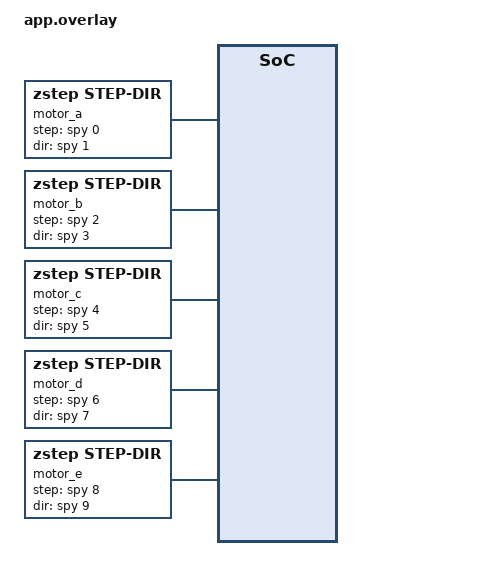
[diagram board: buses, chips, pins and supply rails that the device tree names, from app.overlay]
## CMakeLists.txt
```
# SPDX-License-Identifier: Apache-2.0

cmake_minimum_required(VERSION 3.20.0)
list(APPEND DTS_ROOT ${CMAKE_CURRENT_SOURCE_DIR})
find_package(Zephyr REQUIRED HINTS $ENV{ZEPHYR_BASE})
project(zstep_timing)

target_sources(app PRIVATE src/main.c src/gpio_spy.c)
target_include_directories(app PRIVATE ${ZEPHYR_ZSTEP_MODULE_DIR}/drivers/stepper)
```

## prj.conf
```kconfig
# SPDX-License-Identifier: Apache-2.0

CONFIG_ZTEST=y
CONFIG_STEPPER=y
CONFIG_GPIO=y
CONFIG_COUNTER=y
CONFIG_COUNTER_NATIVE_SIM_FREQUENCY=1000000
CONFIG_ASSERT=y
CONFIG_LOG=y
CONFIG_COUNTER_NATIVE_SIM_NBR_CHANNELS=5
CONFIG_LOG_MODE_IMMEDIATE=y
```

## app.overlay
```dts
/* SPDX-License-Identifier: Apache-2.0 */

#include <zephyr/dt-bindings/gpio/gpio.h>

/ {
	fake_driver: fake-driver {
		compatible = "zephyr,fake-stepper-driver";
	};

	/* Unused, the upstream fake driver does not build warning free without it. */
	fake-ctrl {
		compatible = "zephyr,fake-stepper-ctrl";
	};

	spy: gpio-spy {
		compatible = "zstep,test-gpio-spy";
		gpio-controller;
		#gpio-cells = <2>;
		ngpios = <10>;
	};

	motor_a: motor-a {
		compatible = "zstep,step-dir";
		step-gpios = <&spy 0 GPIO_ACTIVE_HIGH>;
		dir-gpios = <&spy 1 GPIO_ACTIVE_HIGH>;
		counter = <&counter0>;
		counter-channel = <0>;
	};

	motor_b: motor-b {
		compatible = "zstep,step-dir";
		step-gpios = <&spy 2 GPIO_ACTIVE_HIGH>;
		dir-gpios = <&spy 3 GPIO_ACTIVE_HIGH>;
		counter = <&counter0>;
		counter-channel = <1>;
		invert-direction;
	};

	motor_c: motor-c {
		compatible = "zstep,step-dir";
		step-gpios = <&spy 4 GPIO_ACTIVE_HIGH>;
		dir-gpios = <&spy 5 GPIO_ACTIVE_HIGH>;
		counter = <&counter0>;
		counter-channel = <2>;
		dual-edge-step;
	};

	motor_d: motor-d {
		compatible = "zstep,step-dir";
		step-gpios = <&spy 6 GPIO_ACTIVE_HIGH>;
		dir-gpios = <&spy 7 GPIO_ACTIVE_HIGH>;
		counter = <&counter0>;
		counter-channel = <3>;
		input-shaper = "zvd";
		input-shaper-frequency-centihz = <4000>;
		input-shaper-buffer-steps = <1024>;
	};

	motor_e: motor-e {
		compatible = "zstep,step-dir";
		step-gpios = <&spy 8 GPIO_ACTIVE_HIGH>;
		dir-gpios = <&spy 9 GPIO_ACTIVE_HIGH>;
		counter = <&counter0>;
		counter-channel = <4>;
		stepper-driver = <&fake_driver>;
		input-shaper = "ei";
		input-shaper-frequency-centihz = <4000>;
		input-shaper-buffer-steps = <1024>;
	};
};
```

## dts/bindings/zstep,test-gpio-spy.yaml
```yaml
# SPDX-License-Identifier: Apache-2.0

description: GPIO controller that records every output edge with a counter timestamp.

compatible: "zstep,test-gpio-spy"

include: [gpio-controller.yaml, base.yaml]

properties:
  "#gpio-cells":
    const: 2

gpio-cells:
  - pin
  - flags
```

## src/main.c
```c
/* SPDX-License-Identifier: Apache-2.0 */

#include <stdlib.h>
#include <string.h>

#include <zephyr/drivers/counter.h>
#include <zephyr/drivers/gpio.h>
#include <zephyr/drivers/stepper/stepper.h>
#include <zephyr/drivers/stepper/stepper_ctrl.h>
#include <zephyr/fff.h>
#include <zephyr/ztest.h>
#include <zstep/zstep.h>

#include "gpio_spy.h"
#include "log_capture.h"
#include "zstep_ramp.h"
#include "zstep_shaper.h"

DEFINE_FFF_GLOBALS;

#define FREQ      1000000U
/* Default 2000 ns step width at 1 MHz rounded up, plus one tick of counter phase. */
#define MIN_DELAY 3
#define MAX_TICKS 8192

struct motor {
	const struct device *dev;
	uint8_t step_pin;
	uint8_t dir_pin;
	bool inverted;
	bool dual_edge;
	struct k_sem done;
	int event;
	int chain;
	int chain_err;
};

#define MOTOR(node)                                                                                \
	{                                                                                          \
		.dev = DEVICE_DT_GET(node),                                                        \
		.step_pin = DT_GPIO_PIN(node, step_gpios),                                         \
		.dir_pin = DT_GPIO_PIN(node, dir_gpios),                                           \
		.inverted = DT_PROP(node, invert_direction),                                       \
		.dual_edge = DT_PROP(node, dual_edge_step),                                        \
	}

static struct motor motors[] = {
	MOTOR(DT_NODELABEL(motor_a)), MOTOR(DT_NODELABEL(motor_b)), MOTOR(DT_NODELABEL(motor_c)),
	MOTOR(DT_NODELABEL(motor_d)), MOTOR(DT_NODELABEL(motor_e)),
};

static struct motor *const a = &motors[0];
static struct motor *const b = &motors[1];
static struct motor *const c = &motors[2];
static struct motor *const d = &motors[3];
static struct motor *const e = &motors[4];

static const struct device *const counter = DEVICE_DT_GET(DT_NODELABEL(counter0));
static const struct device *const spy = DEVICE_DT_GET(DT_NODELABEL(spy));

static const struct stepper_ctrl_ramp slow = {
	.acceleration_max = 10000,
	.speed_max = 2000,
	.deceleration_max = 10000,
};

static const struct stepper_ctrl_ramp quick = {
	.acceleration_max = 50000,
	.speed_max = 5000,
	.deceleration_max = 25000,
};

static const struct stepper_ctrl_ramp fast = {
	.acceleration_max = 100000,
	.speed_max = 20000,
	.deceleration_max = 100000,
};

static uint32_t got[ARRAY_SIZE(motors)][MAX_TICKS];
static uint32_t want[MAX_TICKS];

static void on_event(const struct device *dev, enum stepper_ctrl_event event, void *user_data)
{
	struct motor *m = user_data;

	if (event == STEPPER_CTRL_EVENT_STEPS_COMPLETED && m->chain > 0) {
		m->chain--;
		m->chain_err |= stepper_ctrl_move_by(dev, 10);
		return;
	}

	m->event = event;
	k_sem_give(&m->done);
}

static void wait_for(struct motor *m, enum stepper_ctrl_event event)
{
	zassert_ok(k_sem_take(&m->done, K_SECONDS(10)), "%s timed out", m->dev->name);
	zassert_equal(m->event, event, "%s reported event %d", m->dev->name, m->event);
}

static int32_t position(const struct motor *m)
{
	int32_t pos;

	zassert_ok(stepper_ctrl_get_actual_position(m->dev, &pos));
	return pos;
}

/* Times of the step edges, both edges count for a dual-edge driver. */
static size_t step_ticks(const struct motor *m, uint32_t *out)
{
	const struct gpio_spy_edge *edges;
	size_t count = gpio_spy_edges(&edges);
	size_t n = 0;

	for (size_t i = 0; i < count && n < MAX_TICKS; i++) {
		if (edges[i].pin == m->step_pin && (m->dual_edge || edges[i].level == 1)) {
			out[n++] = edges[i].tick;
		}
	}

	return n;
}

static struct zstep_profile profile_of(const struct stepper_ctrl_ramp *ramp)
{
	struct zstep_profile p;

	zassert_ok(zstep_profile_init(&p, FREQ, zstep_interval_from_speed(FREQ, ramp->speed_max),
				      ramp->acceleration_max, ramp->deceleration_max));
	return p;
}

/* Every step of an n step move must land exactly where the ramp puts it. */
static void check_move(const struct motor *m, const uint32_t *ticks, const struct zstep_profile *p,
		       uint32_t n)
{
	struct zstep_ramp r;

	zstep_ramp_reset(&r, p);
	want[0] = 0;
	for (uint32_t k = 1; k < n; k++) {
		want[k] = want[k - 1] + zstep_ramp_next(&r, n - k);
	}

	for (uint32_t k = 0; k < n; k++) {
		zassert_equal(ticks[k] - ticks[0], want[k], "%s: step %u at %u, expected %u",
			      m->dev->name, k, ticks[k] - ticks[0], want[k]);
	}
}

static size_t steps_up_to(const uint32_t *ticks, size_t n, uint32_t tick)
{
	size_t steps = 0;

	while (steps < n && ticks[steps] <= tick) {
		steps++;
	}

	return steps;
}

ZTEST(zstep_timing, test_edges_follow_ramp)
{
	struct zstep_profile p = profile_of(&slow);
	const struct gpio_spy_edge *edges;
	uint32_t rise = 0;

	zassert_ok(stepper_ctrl_configure_ramp(a->dev, &slow));
	zassert_ok(stepper_ctrl_move_by(a->dev, 500));
	wait_for(a, STEPPER_CTRL_EVENT_STEPS_COMPLETED);

	zassert_equal(position(a), 500);
	zassert_equal(step_ticks(a, got[0]), 500);
	check_move(a, got[0], &p, 500);

	for (size_t i = 0, count = gpio_spy_edges(&edges); i < count; i++) {
		if (edges[i].pin != a->step_pin) {
			continue;
		}

		if (edges[i].level == 1) {
			rise = edges[i].tick;
			continue;
		}

		zassert_equal(edges[i].tick - rise, MIN_DELAY, "pulse width");
	}
}

ZTEST(zstep_timing, test_motors_do_not_disturb_each_other)
{
	static uint32_t alone[MAX_TICKS];
	struct zstep_profile pa = profile_of(&slow);
	struct zstep_profile pc = profile_of(&fast);

	zassert_ok(stepper_ctrl_configure_ramp(b->dev, &quick));
	zassert_ok(stepper_ctrl_move_by(b->dev, 800));
	wait_for(b, STEPPER_CTRL_EVENT_STEPS_COMPLETED);
	zassert_equal(step_ticks(b, alone), 800);

	gpio_spy_reset();
	zassert_ok(stepper_ctrl_configure_ramp(a->dev, &slow));
	zassert_ok(stepper_ctrl_configure_ramp(c->dev, &fast));
	zassert_ok(stepper_ctrl_move_by(a->dev, 600));
	zassert_ok(stepper_ctrl_move_by(c->dev, -3000));
	zassert_ok(stepper_ctrl_move_by(b->dev, 800));
	wait_for(a, STEPPER_CTRL_EVENT_STEPS_COMPLETED);
	wait_for(b, STEPPER_CTRL_EVENT_STEPS_COMPLETED);
	wait_for(c, STEPPER_CTRL_EVENT_STEPS_COMPLETED);

	zassert_equal(position(a), 600);
	zassert_equal(position(b), 1600);
	zassert_equal(position(c), -3000);

	zassert_equal(step_ticks(b, got[1]), 800);
	for (int k = 0; k < 800; k++) {
		zassert_equal(got[1][k] - got[1][0], alone[k] - alone[0], "step %d moved", k);
	}

	zassert_equal(step_ticks(a, got[0]), 600);
	check_move(a, got[0], &pa, 600);
	zassert_equal(step_ticks(c, got[2]), 3000);
	check_move(c, got[2], &pc, 3000);
}

/* Checks DIR setup and hold around every direction change, returns how many there were. */
static int check_dir_timing(const struct motor *m, int dir_level, int32_t net)
{
	const struct gpio_spy_edge *edges;
	uint32_t last_step = 0;
	uint32_t last_dir = 0;
	int reversals = 0;

	for (size_t i = 0, count = gpio_spy_edges(&edges); i < count; i++) {
		if (edges[i].pin == m->dir_pin) {
			zassert_true(edges[i].tick - last_step >= MIN_DELAY, "DIR hold violated");
			dir_level = edges[i].level;
			last_dir = edges[i].tick;
			reversals++;
		}

		if (edges[i].pin == m->step_pin && edges[i].level == 1) {
			zassert_true(reversals == 0 || edges[i].tick - last_dir >= MIN_DELAY,
				     "DIR setup violated");
			net -= dir_level != m->inverted ? 1 : -1;
			last_step = edges[i].tick;
		}
	}

	zassert_equal(net, 0, "%s: steps do not add up to the move", m->dev->name);
	return reversals;
}

ZTEST(zstep_timing, test_reversal_respects_dir_timing)
{
	int dir_level = gpio_pin_get_raw(spy, a->dir_pin);

	zassert_ok(stepper_ctrl_configure_ramp(a->dev, &slow));
	zassert_ok(stepper_ctrl_move_to(a->dev, 300));
	k_msleep(150);
	zassert_ok(stepper_ctrl_move_to(a->dev, -200));
	wait_for(a, STEPPER_CTRL_EVENT_STEPS_COMPLETED);

	zassert_equal(position(a), -200);
	zassert_equal(check_dir_timing(a, dir_level, -200), 1);
}

ZTEST(zstep_timing, test_stop_decelerates)
{
	uint32_t stop_at = 0;

	zassert_ok(stepper_ctrl_configure_ramp(a->dev, &slow));
	zassert_ok(stepper_ctrl_run(a->dev, STEPPER_CTRL_DIRECTION_POSITIVE));
	k_msleep(400);

	zassert_ok(counter_get_value(counter, &stop_at));
	zassert_ok(stepper_ctrl_stop(a->dev));
	wait_for(a, STEPPER_CTRL_EVENT_STOPPED);

	size_t n = step_ticks(a, got[0]);
	size_t braking_from = steps_up_to(got[0], n, stop_at);

	zassert_equal(position(a), n);
	zassert_within(n - braking_from, 200, 3, "braked over %zu steps", n - braking_from);
	for (size_t k = braking_from + 2; k < n; k++) {
		zassert_true(got[0][k] - got[0][k - 1] + 1 >= got[0][k - 1] - got[0][k - 2],
			     "sped up while braking at step %zu", k);
	}
}

ZTEST(zstep_timing, test_dual_edge_steps_on_both_edges)
{
	struct zstep_profile p = profile_of(&slow);

	zassert_ok(stepper_ctrl_configure_ramp(c->dev, &slow));
	zassert_ok(stepper_ctrl_move_by(c->dev, 101));
	wait_for(c, STEPPER_CTRL_EVENT_STEPS_COMPLETED);

	zassert_equal(position(c), 101);
	zassert_equal(step_ticks(c, got[2]), 101);
	check_move(c, got[2], &p, 101);
}

ZTEST(zstep_timing, test_group_moves_along_a_line)
{
	const struct device *devs[] = {a->dev, b->dev, c->dev};
	const int32_t steps[] = {3000, -1000, 500};
	struct zstep_profile p = profile_of(&fast);
	struct zstep_profile pb = p;
	struct zstep_profile pc = p;

	zassert_ok(zstep_group_move_by(devs, steps, ARRAY_SIZE(devs), &fast));
	ARRAY_FOR_EACH(devs, i) {
		wait_for(&motors[i], STEPPER_CTRL_EVENT_STEPS_COMPLETED);
		zassert_equal(position(&motors[i]), steps[i]);
		zassert_equal(step_ticks(&motors[i], got[i]), abs(steps[i]));
	}

	zassert_equal(got[0][0], got[1][0], "axes started apart");
	zassert_equal(got[0][0], got[2][0], "axes started apart");

	zstep_profile_scale(&pb, 3000, 1000, ZSTEP_RAMP_INTERVAL_MAX);
	zstep_profile_scale(&pc, 3000, 500, ZSTEP_RAMP_INTERVAL_MAX);
	check_move(a, got[0], &p, 3000);
	check_move(b, got[1], &pb, 1000);
	check_move(c, got[2], &pc, 500);

	for (uint32_t k = 0; k < 3000; k++) {
		double expected_b = k / 3.0 + 1;
		double expected_c = k / 6.0 + 1;

		zassert_within(steps_up_to(got[1], 1000, got[0][k]), expected_b, 3.0);
		zassert_within(steps_up_to(got[2], 500, got[0][k]), expected_c, 3.0);
	}
}

ZTEST(zstep_timing, test_group_rejects_bad_requests)
{
	const struct device *same[] = {a->dev, a->dev};
	const struct device *foreign[] = {a->dev, counter};
	const struct device *pair[] = {a->dev, b->dev};
	const int32_t steps[] = {10, 10};

	zassert_equal(zstep_group_move_by(pair, steps, 0, &slow), -EINVAL);
	zassert_equal(zstep_group_move_by(same, steps, 2, &slow), -EINVAL);
	zassert_equal(zstep_group_move_by(foreign, steps, 2, &slow), -ENOTSUP);

	zassert_ok(stepper_ctrl_configure_ramp(b->dev, &slow));
	zassert_ok(stepper_ctrl_run(b->dev, STEPPER_CTRL_DIRECTION_NEGATIVE));
	zassert_equal(zstep_group_move_by(pair, steps, 2, &slow), -EBUSY);
	zassert_equal(position(a), 0);
}

ZTEST(zstep_timing, test_moves_chained_from_callback)
{
	const struct stepper_ctrl_ramp constant = {.speed_max = 1000};

	zassert_ok(stepper_ctrl_configure_ramp(a->dev, &constant));
	a->chain = 5;
	zassert_ok(stepper_ctrl_move_by(a->dev, 10));
	wait_for(a, STEPPER_CTRL_EVENT_STEPS_COMPLETED);

	zassert_equal(a->chain_err, 0);
	zassert_equal(position(a), 60);
	zassert_equal(step_ticks(a, got[0]), 60);
}

ZTEST(zstep_timing, test_rejects_bad_limits)
{
	struct stepper_ctrl_ramp bad = slow;

	bad.speed_max = 0;
	zassert_equal(stepper_ctrl_configure_ramp(a->dev, &bad), -EINVAL);

	bad.speed_max = 400000;
	zassert_equal(stepper_ctrl_configure_ramp(a->dev, &bad), -EINVAL, "shorter than pulse");
	zassert_equal(stepper_ctrl_set_microstep_interval(a->dev, 4000), -EINVAL);
	zassert_ok(stepper_ctrl_set_microstep_interval(a->dev, 2 * MIN_DELAY * 1000));

	zassert_ok(stepper_ctrl_configure_ramp(a->dev, &slow));
	zassert_ok(stepper_ctrl_run(a->dev, STEPPER_CTRL_DIRECTION_POSITIVE));
	zassert_equal(stepper_ctrl_configure_ramp(a->dev, &quick), -EBUSY);
	zassert_ok(stepper_ctrl_set_microstep_interval(a->dev, 2 * NSEC_PER_MSEC));
}

static struct zstep_shaper shaper_of(enum zstep_shaper_type type)
{
	struct zstep_shaper s;

	zassert_ok(zstep_shaper_init(&s, type, 4000, 100, FREQ));
	return s;
}

/* Physical step times of a shaped n step move, relative to its first commanded step. */
static size_t shaped_model(const struct zstep_profile *p, const struct zstep_shaper *s, uint32_t n,
			   uint32_t *out, uint32_t *command_end)
{
	static struct zstep_echo_step buffer[2048];
	struct zstep_echo echo = {
		.shaper = *s,
		.buf = buffer,
		.size = ARRAY_SIZE(buffer),
		.top = UINT32_MAX,
	};
	struct zstep_ramp r;
	uint32_t made = 0;
	uint32_t t = 0;
	size_t count = 0;

	zstep_ramp_reset(&r, p);
	zstep_echo_reset(&echo, 0);
	for (;;) {
		uint32_t at;
		int8_t dir;

		switch (zstep_echo_next(&echo, &at, &dir)) {
		case ZSTEP_ECHO_STEP:
			out[count++] = at;
			break;
		case ZSTEP_ECHO_NEED_COMMAND:
			if (made == n) {
				echo.closed = true;
				break;
			}
			zassert_ok(zstep_echo_push(&echo, t, 1));
			*command_end = t;
			made++;
			t += zstep_ramp_next(&r, n - made);
			break;
		case ZSTEP_ECHO_DONE:
			return count;
		}
	}
}

static void check_pulses(const struct motor *m)
{
	const struct gpio_spy_edge *edges;
	uint32_t rise = 0;
	bool first = true;

	for (size_t i = 0, count = gpio_spy_edges(&edges); i < count; i++) {
		if (edges[i].pin != m->step_pin) {
			continue;
		}

		if (edges[i].level == 0) {
			zassert_equal(edges[i].tick - rise, MIN_DELAY, "pulse width");
			continue;
		}

		zassert_true(first || edges[i].tick - rise >= 2 * MIN_DELAY, "steps too close");
		rise = edges[i].tick;
		first = false;
	}
}

ZTEST(zstep_timing, test_shaped_motors_follow_model_and_keep_others_intact)
{
	static uint32_t alone[MAX_TICKS];
	static uint32_t model[MAX_TICKS];
	struct motor *shaped[] = {d, e};
	const enum zstep_shaper_type types[] = {ZSTEP_SHAPER_ZVD, ZSTEP_SHAPER_EI};
	struct zstep_profile p = profile_of(&fast);

	zassert_ok(stepper_ctrl_configure_ramp(b->dev, &quick));
	zassert_ok(stepper_ctrl_move_by(b->dev, 800));
	wait_for(b, STEPPER_CTRL_EVENT_STEPS_COMPLETED);
	zassert_equal(step_ticks(b, alone), 800);

	gpio_spy_reset();
	ARRAY_FOR_EACH(shaped, i) {
		zassert_ok(stepper_ctrl_configure_ramp(shaped[i]->dev, &fast));
		zassert_ok(stepper_ctrl_move_by(shaped[i]->dev, 3000));
	}
	zassert_ok(stepper_ctrl_move_by(b->dev, 800));

	wait_for(b, STEPPER_CTRL_EVENT_STEPS_COMPLETED);
	zassert_equal(step_ticks(b, got[1]), 800);
	for (int k = 0; k < 800; k++) {
		zassert_equal(got[1][k] - got[1][0], alone[k] - alone[0], "step %d moved", k);
	}

	ARRAY_FOR_EACH(shaped, i) {
		struct zstep_shaper s = shaper_of(types[i]);
		uint32_t command_end = 0;
		size_t n = shaped_model(&p, &s, 3000, model, &command_end);

		wait_for(shaped[i], STEPPER_CTRL_EVENT_STEPS_COMPLETED);
		zassert_equal(position(shaped[i]), 3000);
		zassert_equal(n, 3000);
		zassert_equal(step_ticks(shaped[i], got[3 + i]), 3000);
		zassert_equal(model[n - 1], command_end + s.delay[s.impulses - 1],
			      "the last step lags the command by the shaper duration");
		for (size_t k = 0; k < n; k++) {
			zassert_equal(got[3 + i][k] - got[3 + i][0], model[k] - model[0],
				      "%s: step %zu at %u, expected %u", shaped[i]->dev->name, k,
				      got[3 + i][k] - got[3 + i][0], model[k] - model[0]);
		}

		check_pulses(shaped[i]);
	}
}

ZTEST(zstep_timing, test_shaped_reversal)
{
	struct motor *shaped[] = {d, e};

	ARRAY_FOR_EACH(shaped, i) {
		struct motor *m = shaped[i];
		int dir_level = gpio_pin_get_raw(spy, m->dir_pin);

		gpio_spy_reset();
		zassert_ok(stepper_ctrl_configure_ramp(m->dev, &fast));
		zassert_ok(stepper_ctrl_move_to(m->dev, 1500));
		k_msleep(60);
		zassert_ok(stepper_ctrl_move_to(m->dev, -500));
		wait_for(m, STEPPER_CTRL_EVENT_STEPS_COMPLETED);

		zassert_equal(position(m), -500);
		zassert_equal(check_dir_timing(m, dir_level, -500), 1, "%s dithers", m->dev->name);
		check_pulses(m);
	}
}

ZTEST(zstep_timing, test_shaped_stop_lets_motion_settle)
{
	struct zstep_shaper s = shaper_of(ZSTEP_SHAPER_EI);
	uint32_t stop_at = 0;

	zassert_ok(stepper_ctrl_configure_ramp(e->dev, &fast));
	zassert_ok(stepper_ctrl_run(e->dev, STEPPER_CTRL_DIRECTION_POSITIVE));
	k_msleep(300);
	zassert_ok(counter_get_value(counter, &stop_at));
	zassert_ok(stepper_ctrl_stop(e->dev));
	wait_for(e, STEPPER_CTRL_EVENT_STOPPED);

	size_t n = step_ticks(e, got[4]);

	zassert_equal(position(e), n);
	zassert_true(got[4][n - 1] - stop_at > s.delay[s.impulses - 1],
		     "the shaped motion ended before the shaper settled");
}

ZTEST(zstep_timing, test_shaped_halt_without_ramp)
{
	const struct stepper_ctrl_ramp constant = {.speed_max = 2000};

	zassert_ok(stepper_ctrl_configure_ramp(d->dev, &constant));
	zassert_ok(stepper_ctrl_run(d->dev, STEPPER_CTRL_DIRECTION_NEGATIVE));
	k_msleep(50);
	zassert_ok(stepper_ctrl_stop(d->dev));
	zassert_ok(k_sem_take(&d->done, K_NO_WAIT), "halt reports STOPPED right away");
	zassert_equal(d->event, STEPPER_CTRL_EVENT_STOPPED);

	bool moving;

	zassert_ok(stepper_ctrl_is_moving(d->dev, &moving));
	zassert_false(moving);
	zassert_equal(position(d), -(int32_t)step_ticks(d, got[3]));
}

ZTEST(zstep_timing, test_set_input_shaper)
{
	struct stepper_ctrl_ramp too_fast = fast;

	zassert_equal(zstep_set_input_shaper(a->dev, ZSTEP_SHAPER_ZVD, 4000, 100), -ENOTSUP,
		      "no shaper buffer");
	zassert_ok(zstep_set_input_shaper(a->dev, ZSTEP_SHAPER_NONE, 0, 0));
	zassert_equal(zstep_set_input_shaper(d->dev, ZSTEP_SHAPER_EI, 0, 100), -EINVAL);

	zassert_ok(stepper_ctrl_configure_ramp(d->dev, &fast));
	zassert_equal(zstep_set_input_shaper(d->dev, ZSTEP_SHAPER_EI, 1000, 100), -EINVAL,
		      "10 Hz EI does not fit the buffer at full speed");
	zassert_ok(zstep_set_input_shaper(d->dev, ZSTEP_SHAPER_EI, 4000, 100));

	too_fast.speed_max = 60000;
	zassert_equal(stepper_ctrl_configure_ramp(d->dev, &too_fast), -EINVAL);

	zassert_ok(stepper_ctrl_run(d->dev, STEPPER_CTRL_DIRECTION_POSITIVE));
	zassert_equal(zstep_set_input_shaper(d->dev, ZSTEP_SHAPER_ZVD, 4000, 100), -EBUSY);
	zassert_ok(stepper_ctrl_stop(d->dev));
	wait_for(d, STEPPER_CTRL_EVENT_STOPPED);

	zassert_ok(zstep_set_input_shaper(d->dev, ZSTEP_SHAPER_ZVD, 4000, 100));
}

ZTEST(zstep_timing, test_warns_about_coarse_micro_steps)
{
	const struct device *driver = DEVICE_DT_GET(DT_NODELABEL(fake_driver));
	const char *warning = "input shaping needs 16 or more micro-steps";

	zassert_ok(stepper_set_micro_step_res(driver, STEPPER_MICRO_STEP_8));
	log_capture_reset();
	zassert_ok(zstep_set_input_shaper(e->dev, ZSTEP_SHAPER_EI, 4000, 100));
	zassert_not_null(strstr(log_capture_text(), warning), "selecting a shaper");

	log_capture_reset();
	zassert_ok(stepper_ctrl_configure_ramp(e->dev, &fast));
	zassert_not_null(strstr(log_capture_text(), warning), "configuring the speed");

	log_capture_reset();
	zassert_ok(zstep_set_input_shaper(e->dev, ZSTEP_SHAPER_NONE, 0, 0));
	zassert_ok(stepper_ctrl_configure_ramp(e->dev, &fast));
	zassert_is_null(strstr(log_capture_text(), warning), "no shaper, no warning");

	zassert_ok(stepper_set_micro_step_res(driver, STEPPER_MICRO_STEP_16));
	log_capture_reset();
	zassert_ok(zstep_set_input_shaper(e->dev, ZSTEP_SHAPER_EI, 4000, 100));
	zassert_ok(stepper_ctrl_configure_ramp(e->dev, &fast));
	zassert_is_null(strstr(log_capture_text(), warning), "16 micro-steps are enough");
}

static void *setup(void)
{
	ARRAY_FOR_EACH(motors, i) {
		zassert_true(device_is_ready(motors[i].dev));
		k_sem_init(&motors[i].done, 0, 1);
		zassert_ok(stepper_ctrl_set_event_cb(motors[i].dev, on_event, &motors[i]));
	}

	return NULL;
}

static void before(void *fixture)
{
	ARRAY_FOR_EACH(motors, i) {
		k_sem_reset(&motors[i].done);
		motors[i].chain = 0;
		motors[i].chain_err = 0;
		zassert_ok(stepper_ctrl_set_reference_position(motors[i].dev, 0));
	}

	gpio_spy_reset();
}

static void after(void *fixture)
{
	ARRAY_FOR_EACH(motors, i) {
		bool moving = true;

		zassert_ok(stepper_ctrl_stop(motors[i].dev));
		for (int tries = 0; moving && tries < 500; tries++) {
			zassert_ok(stepper_ctrl_is_moving(motors[i].dev, &moving));
			k_msleep(10);
		}
		zassert_false(moving, "%s did not stop", motors[i].dev->name);
	}
}

ZTEST_SUITE(zstep_timing, NULL, setup, before, after, NULL);
```

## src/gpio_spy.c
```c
/* SPDX-License-Identifier: Apache-2.0 */

#define DT_DRV_COMPAT zstep_test_gpio_spy

#include <zephyr/device.h>
#include <zephyr/drivers/counter.h>
#include <zephyr/drivers/gpio.h>
#include <zephyr/drivers/gpio/gpio_utils.h>
#include <zephyr/spinlock.h>

#include "gpio_spy.h"

#define MAX_EDGES 32768

struct gpio_spy_config {
	struct gpio_driver_config common;
};

struct gpio_spy_data {
	struct gpio_driver_data common;
	gpio_port_value_t value;
};

static const struct device *const counter = DEVICE_DT_GET(DT_NODELABEL(counter0));
static struct gpio_spy_edge edges[MAX_EDGES];
static size_t edge_count;
static struct k_spinlock lock;

static int update(const struct device *dev, gpio_port_value_t value)
{
	struct gpio_spy_data *data = dev->data;

	K_SPINLOCK(&lock) {
		gpio_port_value_t changed = data->value ^ value;
		uint32_t now = 0;

		(void)counter_get_value(counter, &now);
		for (uint8_t pin = 0; changed != 0; pin++, changed >>= 1) {
			if ((changed & 1) == 0 || edge_count == MAX_EDGES) {
				continue;
			}

			edges[edge_count++] = (struct gpio_spy_edge){
				.tick = now,
				.pin = pin,
				.level = (value >> pin) & 1,
			};
		}

		data->value = value;
	}

	return 0;
}

size_t gpio_spy_edges(const struct gpio_spy_edge **out)
{
	*out = edges;
	return edge_count;
}

void gpio_spy_reset(void)
{
	K_SPINLOCK(&lock) {
		edge_count = 0;
	}
}

static int spy_pin_configure(const struct device *dev, gpio_pin_t pin, gpio_flags_t flags)
{
	struct gpio_spy_data *data = dev->data;

	if ((flags & GPIO_OUTPUT_INIT_HIGH) != 0) {
		return update(dev, data->value | BIT(pin));
	}

	return update(dev, data->value & ~BIT(pin));
}

static int spy_port_get_raw(const struct device *dev, gpio_port_value_t *value)
{
	struct gpio_spy_data *data = dev->data;

	*value = data->value;
	return 0;
}

static int spy_port_set_masked_raw(const struct device *dev, gpio_port_pins_t mask,
				   gpio_port_value_t value)
{
	struct gpio_spy_data *data = dev->data;

	return update(dev, (data->value & ~mask) | (value & mask));
}

static int spy_port_set_bits_raw(const struct device *dev, gpio_port_pins_t pins)
{
	struct gpio_spy_data *data = dev->data;

	return update(dev, data->value | pins);
}

static int spy_port_clear_bits_raw(const struct device *dev, gpio_port_pins_t pins)
{
	struct gpio_spy_data *data = dev->data;

	return update(dev, data->value & ~pins);
}

static int spy_port_toggle_bits(const struct device *dev, gpio_port_pins_t pins)
{
	struct gpio_spy_data *data = dev->data;

	return update(dev, data->value ^ pins);
}

static DEVICE_API(gpio, spy_api) = {
	.pin_configure = spy_pin_configure,
	.port_get_raw = spy_port_get_raw,
	.port_set_masked_raw = spy_port_set_masked_raw,
	.port_set_bits_raw = spy_port_set_bits_raw,
	.port_clear_bits_raw = spy_port_clear_bits_raw,
	.port_toggle_bits = spy_port_toggle_bits,
};

#define GPIO_SPY_DEFINE(inst)                                                                      \
	static const struct gpio_spy_config gpio_spy_config_##inst = {                             \
		.common = GPIO_COMMON_CONFIG_FROM_DT_INST(inst),                                   \
	};                                                                                         \
	static struct gpio_spy_data gpio_spy_data_##inst;                                          \
	DEVICE_DT_INST_DEFINE(inst, NULL, NULL, &gpio_spy_data_##inst, &gpio_spy_config_##inst,    \
			      POST_KERNEL, CONFIG_GPIO_INIT_PRIORITY, &spy_api);

DT_INST_FOREACH_STATUS_OKAY(GPIO_SPY_DEFINE)
```

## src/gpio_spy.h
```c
/* SPDX-License-Identifier: Apache-2.0 */

#ifndef ZSTEP_TESTS_INTEGRATION_TIMING_SRC_GPIO_SPY_H_
#define ZSTEP_TESTS_INTEGRATION_TIMING_SRC_GPIO_SPY_H_

#include <stddef.h>
#include <stdint.h>

struct gpio_spy_edge {
	uint32_t tick;
	uint8_t pin;
	uint8_t level;
};

/** Edges recorded since the last reset, in the order they happened. */
size_t gpio_spy_edges(const struct gpio_spy_edge **edges);

void gpio_spy_reset(void);

#endif /* ZSTEP_TESTS_INTEGRATION_TIMING_SRC_GPIO_SPY_H_ */
```

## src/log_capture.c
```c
/* SPDX-License-Identifier: Apache-2.0 */

#include <string.h>

#include <zephyr/logging/log_backend.h>
#include <zephyr/logging/log_output.h>

#include "log_capture.h"

static char text[1024];
static size_t length;
static uint8_t output_buf[128];

static int append(uint8_t *data, size_t size, void *ctx)
{
	size_t room = sizeof(text) - 1 - length;
	size_t n = MIN(size, room);

	memcpy(&text[length], data, n);
	length += n;
	text[length] = '\0';
	return size;
}

LOG_OUTPUT_DEFINE(capture_output, append, output_buf, sizeof(output_buf));

static void process(const struct log_backend *const backend, union log_msg_generic *msg)
{
	log_output_msg_process(&capture_output, &msg->log, 0);
}

static void panic(const struct log_backend *const backend)
{
}

static const struct log_backend_api capture_api = {
	.process = process,
	.panic = panic,
};

LOG_BACKEND_DEFINE(log_capture, capture_api, true);

const char *log_capture_text(void)
{
	return text;
}

void log_capture_reset(void)
{
	length = 0;
	text[0] = '\0';
}
```

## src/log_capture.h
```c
/* SPDX-License-Identifier: Apache-2.0 */

#ifndef ZSTEP_TESTS_INTEGRATION_TIMING_SRC_LOG_CAPTURE_H_
#define ZSTEP_TESTS_INTEGRATION_TIMING_SRC_LOG_CAPTURE_H_

/** Text of all log messages since the last reset, needs CONFIG_LOG_MODE_IMMEDIATE. */
const char *log_capture_text(void);

void log_capture_reset(void);

#endif /* ZSTEP_TESTS_INTEGRATION_TIMING_SRC_LOG_CAPTURE_H_ */
```
